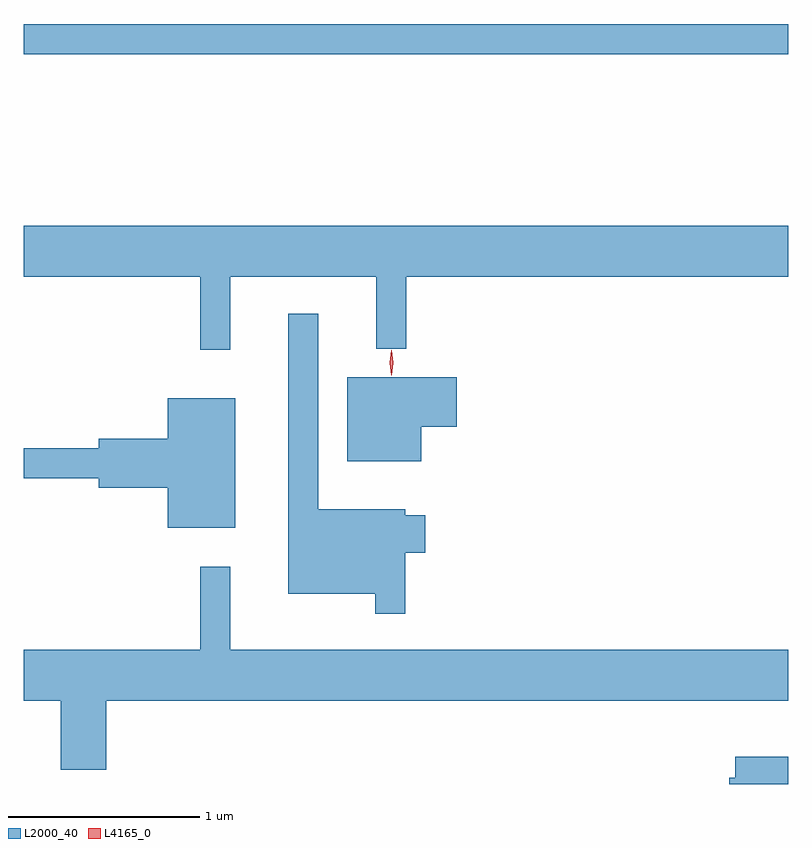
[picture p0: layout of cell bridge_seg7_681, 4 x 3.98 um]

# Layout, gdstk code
import gdstk
lib = gdstk.Library(unit=1e-6, precision=1e-09)
def R(c, l, rs):  # rectangles x0, y0, x1, y1
    for r in rs: c.add(gdstk.rectangle(r[:2], r[2:], *l))
def P(c, l, *ps):  # polygons
    for p in ps: c.add(gdstk.Polygon(p, *l))
L2000_40 = (2000, 40)
L4165_0 = (4165, 0)

bridge_seg7_681 = lib.new_cell('bridge_seg7_681')
R(bridge_seg7_681, L2000_40, [(1021.873,1704.381,1025.873,1704.539)])
P(bridge_seg7_681, L2000_40, [(1022.954,1703.216),(1023.716,1703.216),(1023.716,1702.838),(1023.874,1702.838),(1023.874,1703.216),(1025.873,1703.216),(1025.873,1703.484),(1021.873,1703.484),(1021.873,1703.216),(1022.796,1703.216),(1022.796,1702.833),(1022.954,1702.833)],
  [(1023.869,1701.771),(1023.974,1701.771),(1023.974,1701.969),(1023.869,1701.969),(1023.869,1701.999),(1023.414,1701.999),(1023.414,1703.023),(1023.256,1703.023),(1023.256,1701.556),(1023.711,1701.556),(1023.711,1701.453),(1023.869,1701.453)],
  [(1023.954,1702.431),(1024.139,1702.431),(1024.139,1702.689),(1023.566,1702.689),(1023.566,1702.251),(1023.954,1702.251)],
  [(1022.979,1702.579),(1022.626,1702.579),(1022.626,1702.369),(1022.266,1702.369),(1022.266,1702.319),(1021.873,1702.319),(1021.873,1702.161),(1022.266,1702.161),(1022.266,1702.111),(1022.626,1702.111),(1022.626,1701.901),(1022.979,1701.901)],
  [(1022.304,1700.996),(1025.873,1700.996),(1025.873,1701.264),(1022.954,1701.264),(1022.954,1701.698),(1022.796,1701.698),(1022.796,1701.264),(1021.873,1701.264),(1021.873,1700.996),(1022.066,1700.996),(1022.066,1700.636),(1022.304,1700.636)],
  [(1025.873,1700.704),(1025.596,1700.704),(1025.596,1700.594),(1025.566,1700.594),(1025.566,1700.561),(1025.873,1700.561)])
P(bridge_seg7_681, L4165_0, [(1023.798,1702.7),(1023.797,1702.701),(1023.788,1702.766),(1023.797,1702.831),(1023.797,1702.831),(1023.798,1702.831),(1023.807,1702.766),(1023.798,1702.701)])

lib.write_gds('bridge_seg7_681.gds')
